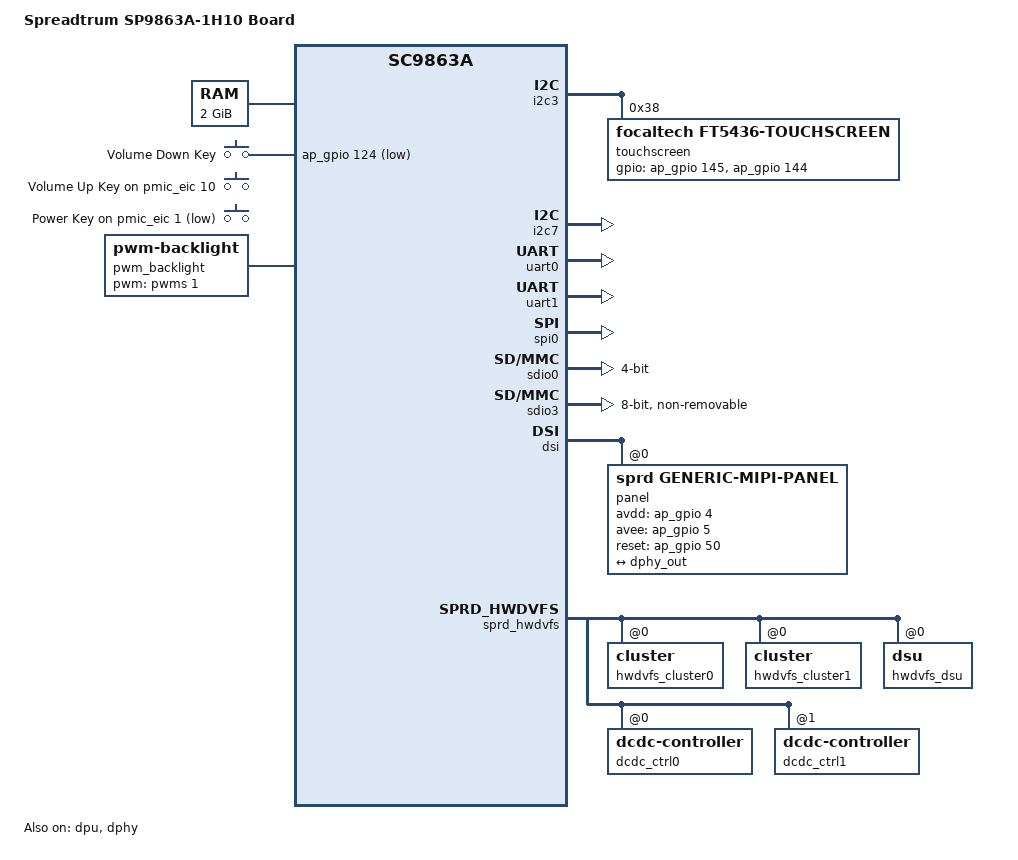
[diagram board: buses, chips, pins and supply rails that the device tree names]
// SPDX-License-Identifier: GPL-2.0-only
/*
 * Unisoc SP9863A-1h10 boards DTS file
 *
 * Copyright (C) 2019, Unisoc Inc.
 */

/dts-v1/;
#include <dt-bindings/gpio/gpio.h>
#include "sc9863a.dtsi"
#include "sc2721.dtsi"
#include <dt-bindings/input/input.h>
#include "sp9863a-mach.dtsi"
#include "lcd/lcd_nt35695_truly_mipi_fhd.dtsi"
#include "lcd/lcd_nt35532_truly_mipi_fhd.dtsi"
#include "lcd/lcd_nt35596_boe_mipi_fhd.dtsi"

/ {
	model = "Spreadtrum SP9863A-1H10 Board";

	compatible = "sprd,sp9863a-1h10", "sprd,sc9863a";

	sprd,sc-id = <9863 1 0x20000>;

	aliases {
		serial0 = &uart0;
		serial1 = &uart1;
	};

	memory@80000000 {
		device_type = "memory";
		reg = <0x0 0x80000000 0x0 0x80000000>;
	};

	chosen {
		stdout-path = "serial1:115200n8";
		bootargs = "earlycon console=ttyS1,115200n8 loglevel=7 init=/init root=/dev/ram0 rw androidboot.hardware=s9863a1h10 androidboot.dtbo_idx=0 printk.devkmsg=on androidboot.boot_devices=soc/soc:ap-ahb/20600000.sdio androidboot.selinux=permissive androidboot.force_normal_boot=1";
	};

	gpio-keys {
		compatible = "gpio-keys";
		autorepeat;

		key-volumedown {
			label = "Volume Down Key";
			linux,code = <KEY_VOLUMEDOWN>;
			gpios = <&ap_gpio 124 GPIO_ACTIVE_LOW>;
			debounce-interval = <2>;
			wakeup-source;
		};

		key-volumeup {
			label = "Volume Up Key";
			linux,code = <KEY_VOLUMEUP>;
			gpios = <&pmic_eic 10 GPIO_ACTIVE_HIGH>;
			debounce-interval = <2>;
			wakeup-source;
		};

		key-power {
			label = "Power Key";
			linux,code = <KEY_POWER>;
			gpios = <&pmic_eic 1 GPIO_ACTIVE_LOW>;
			debounce-interval = <2>;
			wakeup-source;
		};
	};

	pwm_backlight: sprd_backlight {
		compatible = "pwm-backlight";
		pwms = <&pwms 1 30000>;
		pwm-names = "backlight";
		brightness-levels = <
						2   2   2   2
			2   2   2   3   4   5   6   7   8   9
			10  11  12  13  14  15  16  17  18  19
			20  21  22  23  24  25  26  27  28  29
			30  31  32  33  34  35  36  37  38  39
			40  41  42  43  44  45  46  47  48  49
			50  51  52  53  54  55  56  57  58  59
			60  61  62  63  64  65  66  67  68  69
			70  71  72  73  74  75  76  77  78  79
			80  81  82  83  84  85  86  87  88  89
			90  91  92  93  94  95  96  97  98  99
			100 101 102 103 104 105 106 107 108 109
			110 111 112 113 114 115 116 117 118 119
			120 121 122 123 124 125 126 127 128 129
			130 131 132 133 134 135 136 137 138 139
			140 141 142 143 144 145 146 147 148 149
			150 151 152 153 154 155 156 157 158 159
			160 161 162 163 164 165 166 167 168 169
			170 171 172 173 174 175 176 177 178 179
			180 181 182 183 184 185 186 187 188 189
			190 191 192 193 194 195 196 197 198 199
			200 201 202 203 204 205 206 207 208 209
			210 211 212 213 214 215 216 217 218 219
			220 221 222 223 224 225 226 227 228 229
			230 231 232 233 234 235 236 237 238 239
			240 241 242 243 244 245 246 247 248 249
			250 251
			>;
		default-brightness-level = <33>;
	};
};

&i2c3 {
	status = "okay";

	touchscreen@38 {
		compatible = "focaltech,ft5436-touchscreen";
		reg = <0x38>;
		gpios = <&ap_gpio 145 GPIO_ACTIVE_HIGH
			&ap_gpio 144 GPIO_ACTIVE_HIGH>;
		controller = "focaltech,FT5436";
		virtualkeys = <580 60 1320 60 45
			172 360 1320 60 45
			158 600 1320 60 45>;
		private-data {
			a8 = /bits/ 8 <0x5a>;
		};
	};
};

&i2c7 {
	status = "okay";
};

&uart0 {
	status = "okay";
};

&uart1 {
	status = "okay";
};

&spi0 {
	/*used for fingerprint sensor*/
	status = "okay";
};

&vdd18 {
	regulator-always-on;
};

&vddrf18 {
	regulator-always-on;
};

&vddrf125 {
	regulator-always-on;
};

&vddldomem {
	regulator-always-on;
};

&vddemmccore {
	regulator-always-on;
};

&vddsim2 {
	status = "disabled";
};

&sdio0 {
	bus-width = <4>;
	no-sdio;
	no-mmc;
	status = "okay";
};

&sdio3 {
	bus-width = <8>;
	non-removable;
	no-sdio;
	no-sd;
	cap-mmc-hw-reset;
	status = "okay";
};

&dpu {
	status = "okay";
};

&dsi {
	status = "okay";
	#address-cells = <1>;
	#size-cells = <0>;

	panel: panel {
		compatible = "sprd,generic-mipi-panel";
		#address-cells = <1>;
		#size-cells = <0>;
		reg = <0>;

		sprd,backlight = <&pwm_backlight>;

		avdd-gpio = <&ap_gpio 4 GPIO_ACTIVE_HIGH>;
		avee-gpio = <&ap_gpio 5 GPIO_ACTIVE_HIGH>;
		reset-gpio = <&ap_gpio 50 GPIO_ACTIVE_HIGH>;
		port@1 {
			reg = <1>;
			panel_in: endpoint {
				remote-endpoint = <&dphy_out>;
			};
		};
	};
};

&dphy {
	status = "okay";
};

&sprd_hwdvfs {
	hwdvfs_cluster0: cluster@0 {
		reg = <0 0x0>;
		dcdc-ctrl = <&dcdc_ctrl1>;
	};

	hwdvfs_cluster1: cluster@1 {
		reg = <0 0x1>;
		dcdc-ctrl = <&dcdc_ctrl0>;
	};

	hwdvfs_dsu: dsu@0 {
		reg = <0 0x0>;
		dcdc-ctrl = <&dcdc_ctrl0>;
	};

	dcdc_ctrl0: dcdc-controller@0 {
		reg = <0x0 0x0>;
		volt-via-adi;
		volt-hold-us = <50>;
		volt-pause-us = <5>;
		volt-timeout-us = <800>;
		volt-stable-us  = <5>;
		volt-max-step-microvolt = <25000>;
	};

	dcdc_ctrl1: dcdc-controller@1 {
		reg = <0x1 0x2>;
		volt-via-i2c;
		volt-hold-us = <25>;
		volt-pause-us = <20>;
		volt-timeout-us = <800>;
		volt-stable-us  = <25>;
		volt-max-step-microvolt = <1200004>;
	};
};
